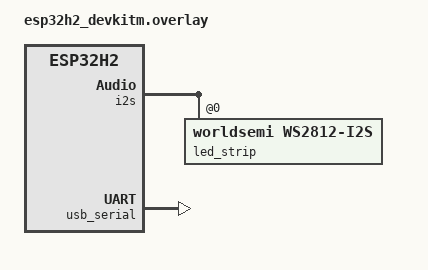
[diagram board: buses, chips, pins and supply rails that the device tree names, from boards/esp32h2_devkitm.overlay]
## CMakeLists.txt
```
cmake_minimum_required(VERSION 3.20.0)

# Find the keyboard_common module (relative to project root)
set(ZEPHYR_EXTRA_MODULES "${CMAKE_CURRENT_SOURCE_DIR}/../../modules")

# Allow Zephyr to find our custom boards
set(BOARD_ROOT "${CMAKE_CURRENT_SOURCE_DIR}/../..")

find_package(Zephyr REQUIRED HINTS $ENV{ZEPHYR_BASE})
project(led_demo)

target_sources(app PRIVATE
    src/main.c
)
```

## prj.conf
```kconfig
CONFIG_SERIAL=y
CONFIG_CONSOLE=y
CONFIG_UART_CONSOLE=y
CONFIG_GPIO=y
CONFIG_LOG=y
CONFIG_LOG_MODE_MINIMAL=y
CONFIG_HEAP_MEM_POOL_SIZE=4096
```

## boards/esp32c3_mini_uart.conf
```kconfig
# ESP32-C3-MINI (CH340 UART): GPIO20=RX, GPIO21=TX, no free pin for LED strip
# LED control not enabled — only console printing
```

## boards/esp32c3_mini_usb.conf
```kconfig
# ESP32-C3-MINI (USB): WS2812 via UART0 TX=GPIO20, console via usb_serial
# No regulator — POWER_GATE disabled, led_power_enable() becomes no-op
CONFIG_DMA=y
CONFIG_DMA_ESP32=y
CONFIG_KEYBOARD_COMMON=y
CONFIG_KEYBOARD_COMMON_KEY_INPUT=n
CONFIG_KEYBOARD_COMMON_LED_CONTROL=y
CONFIG_KEYBOARD_COMMON_LED_CONTROL_POWER_GATE=n
```

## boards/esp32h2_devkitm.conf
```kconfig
# ESP32-H2 riscv32 ilp32 ABI: cbprintf static packaging fails with long double
# Also no MOSFET power gate for LED strip on this board.
CONFIG_CBPRINTF_FP_SUPPORT=n
CONFIG_KEYBOARD_COMMON_LED_CONTROL_POWER_GATE=n

# I2S required for WS2812 via worldsemi,ws2812-i2s
CONFIG_I2S=y
```

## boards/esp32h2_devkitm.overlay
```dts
/*
 * Copyright (c) 2025 Espressif Systems (Shanghai) Co., Ltd.
 *
 * SPDX-License-Identifier: Apache-2.0
 *
 * ESP32-H2-DevKitM-1 板载 WS2812 RGB LED (GPIO8) via I2S
 */

#include <zephyr/dt-bindings/led/led.h>

/ {
	aliases {
		led-strip = &led_strip;
	};

	chosen {
		zephyr,console = &usb_serial;
		zephyr,shell-uart = &usb_serial;
	};
};

&i2s_default {
	group1 {
		pinmux = <I2S_O_SD_GPIO8>;
	};
};

i2s_led: &i2s {
	status = "okay";

	dmas = <&dma 3>;
	dma-names = "tx";

	led_strip: ws2812@0 {
		compatible = "worldsemi,ws2812-i2s";
		reg = <0>;
		chain-length = <1>;
		color-mapping = <LED_COLOR_ID_GREEN
				 LED_COLOR_ID_RED
				 LED_COLOR_ID_BLUE>;
		reset-delay = <500>;
	};
};

&dma {
	status = "okay";
};

&usb_serial {
	status = "okay";
};
```

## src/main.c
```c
#include <zephyr/kernel.h>
#include <zephyr/logging/log.h>

LOG_MODULE_REGISTER(led_demo, LOG_LEVEL_INF);

#ifdef CONFIG_KEYBOARD_COMMON_LED_CONTROL
#include <led_control.h>

/* Sleep durations in milliseconds */
#define PATTERN_MS  5000
#define CYCLE_MS    200

static void set_all_pixels(uint8_t r, uint8_t g, uint8_t b)
{
	for (int i = 0; i < LED_NUM_PIXELS; i++) {
		led_pixels[i].r = r;
		led_pixels[i].g = g;
		led_pixels[i].b = b;
	}
}

static void led_demo_run(void)
{
	LOG_INF("LED strip demo started (%d pixels)", LED_NUM_PIXELS);

	led_set_brightness(80); /* ~31% brightness to avoid drawing too much current */

	while (1) {
		/* All red */
		LOG_INF("All red");
		set_all_pixels(0xFF, 0x00, 0x00);
		led_update_rgb();
		k_sleep(K_MSEC(PATTERN_MS));

		/* All green */
		LOG_INF("All green");
		set_all_pixels(0x00, 0xFF, 0x00);
		led_update_rgb();
		k_sleep(K_MSEC(PATTERN_MS));

		/* All blue */
		LOG_INF("All blue");
		set_all_pixels(0x00, 0x00, 0xFF);
		led_update_rgb();
		k_sleep(K_MSEC(PATTERN_MS));

		/* All off */
		LOG_INF("All off");
		set_all_pixels(0x00, 0x00, 0x00);
		led_update_rgb();
		k_sleep(K_MSEC(PATTERN_MS));

		/* Rainbow cycle: each pixel sweeps through hues */
		LOG_INF("Rainbow cycle");
		for (int step = 0; step < LED_NUM_PIXELS; step++) {
			for (int i = 0; i < LED_NUM_PIXELS; i++) {
				int hue = (i * 256 / LED_NUM_PIXELS + step * 16) % 256;
				uint8_t r, g, b;
				uint8_t sector = hue / 43;
				uint8_t frac = (hue % 43) * 6;

				switch (sector) {
				case 0: r = 0xFF; g = frac;      b = 0;     break;
				case 1: r = 0xFF - frac; g = 0xFF; b = 0;     break;
				case 2: r = 0;    g = 0xFF; b = frac;      break;
				case 3: r = 0;    g = 0xFF - frac; b = 0xFF; break;
				case 4: r = frac;      g = 0;     b = 0xFF; break;
				default:r = 0xFF; g = 0;     b = 0xFF - frac; break;
				}
				led_pixels[i].r = r;
				led_pixels[i].g = g;
				led_pixels[i].b = b;
			}
			led_update_rgb();
			k_sleep(K_MSEC(CYCLE_MS));
		}
	}
}

#else /* !CONFIG_KEYBOARD_COMMON_LED_CONTROL */

static void console_demo_run(void)
{
	LOG_INF("LED Demo — no LED strip on this board variant");
	LOG_INF("Board uses CH340 UART; GPIO20 is occupied by UART RX");

	while (1) {
		LOG_INF("Hello from ESP32-C3-MINI (CH340 UART)");
		k_sleep(K_SECONDS(5));
	}
}

#endif /* CONFIG_KEYBOARD_COMMON_LED_CONTROL */

int main(void)
{
	LOG_INF("LED Demo starting...");

#ifdef CONFIG_KEYBOARD_COMMON_LED_CONTROL
	led_demo_run();
#else
	console_demo_run();
#endif

	return 0;
}
```
